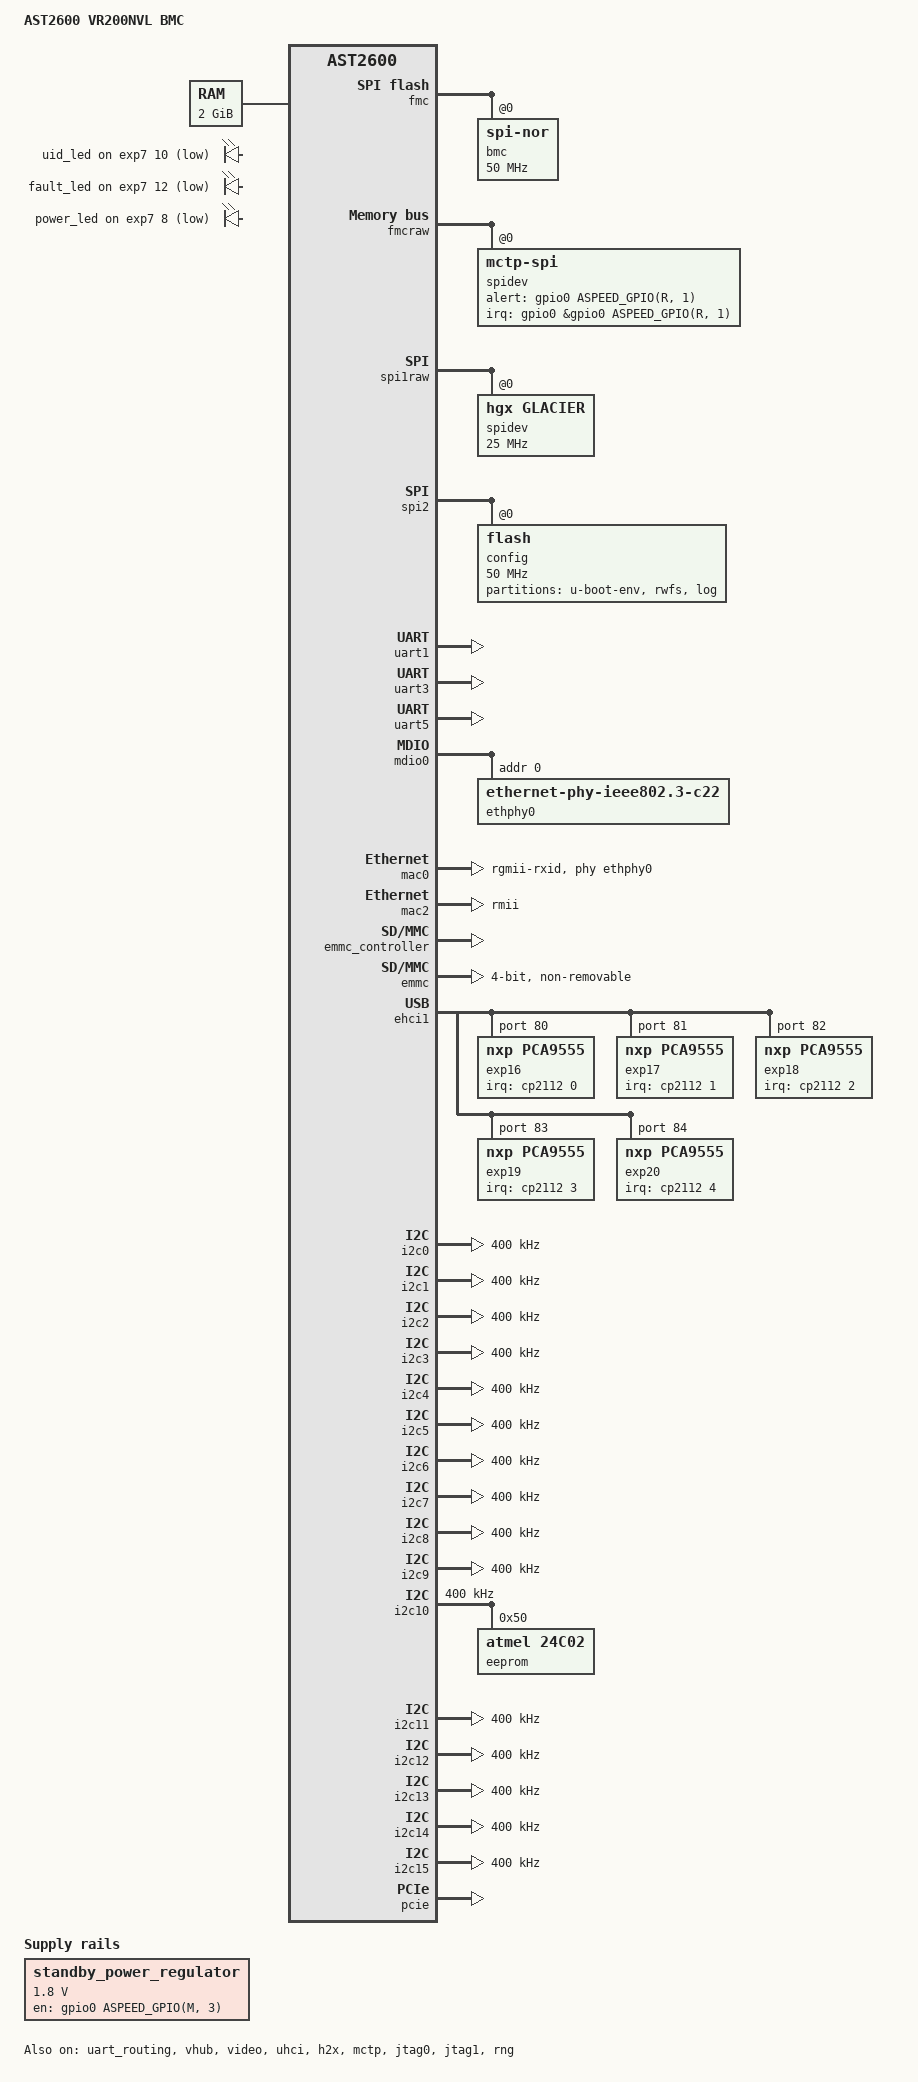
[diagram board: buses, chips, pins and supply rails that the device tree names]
// SPDX-License-Identifier: GPL-2.0+
/dts-v1/;

#include "nvidia-vr-bmc-e5010-core.dtsi"
#include <dt-bindings/leds/common.h>

/ {
    model = "AST2600 VR200NVL BMC";
    compatible = "aspeed,ast2600";

	aliases {
		serial2 = &uart3;
		serial4 = &uart5;
        i2c70   = &i2c70;
	};

	chosen {
		stdout-path = &uart5;
		bootargs = "console=tty0 console=ttyS4,115200n8 earlyprintk";
	};

	memory@80000000 {
		device_type = "memory";
		reg = <0x80000000 0x80000000>;
	};

	reserved-memory {
		#address-cells = <1>;
		#size-cells = <1>;
		ranges;

		vga_memory: framebuffer@9f000000 {
			no-map;
			reg = <0x9f000000 0x01000000>; /* 16M */
		};


		ramoops@a0000000 {
			compatible = "ramoops";
			reg = <0xa0000000 0x100000>; /* 1MB */
			record-size = <0x10000>; /* 64KB */
			max-reason = <2>; /* KMSG_DUMP_OOPS */
		};

		gfx_memory: framebuffer {
			size = <0x01000000>;
			alignment = <0x01000000>;
			compatible = "shared-dma-pool";
			reusable;
		};

		video_engine_memory: jpegbuffer {
			size = <0x02000000>;	/* 32M */
			alignment = <0x01000000>;
			compatible = "shared-dma-pool";
			reusable;
		};
	};

    power-gpios{
        n2-gpios = <&gpio0 ASPEED_GPIO(N, 2) (GPIO_ACTIVE_HIGH|GPIO_PULL_UP)>;
        n3-gpios = <&gpio0 ASPEED_GPIO(N, 3) (GPIO_ACTIVE_HIGH|GPIO_PULL_UP)>;
    };

    leds {
        compatible = "gpio-leds";
        uid_led {
                gpios = <&exp7 10 GPIO_ACTIVE_LOW>;
        };
        fault_led {
                gpios = <&exp7 12 GPIO_ACTIVE_LOW>;
        };
        power_led {
                gpios = <&exp7 8 GPIO_ACTIVE_LOW>;
        };
    };

    buttons {
        power-btn {
            gpio = <&exp7 9 GPIO_ACTIVE_LOW>;
        };
        uid-btn {
            gpio = <&exp7 11 GPIO_ACTIVE_LOW>;
        };
    };

    standby_power_regulator: standby-power-regulator {
		status = "okay";
		compatible = "regulator-fixed";
		regulator-name = "standby_power";
		gpio = <&gpio0 ASPEED_GPIO(M, 3) GPIO_ACTIVE_HIGH>;
		regulator-min-microvolt = <1800000>;
		regulator-max-microvolt = <1800000>;
		enable-active-high;
		regulator-always-on;
	};
};

// Enabled Primary flash on FMC for bring up activity
&fmc {
    status = "okay";
    flash@0 {
        status = "okay";
        compatible = "jedec,spi-nor";
        label = "bmc";
        spi-max-frequency = <50000000>;
#include "aspeed-bmc-nvidia-gh-flash-layout-64.dtsi"
    };
};

&fmcraw {
    status = "okay";
    spidev@0 {
        compatible = "mctp-spi";
        alert-gpio = <&gpio0 ASPEED_GPIO(R, 1) GPIO_ACTIVE_HIGH>;
        interrupt-parent = <&gpio0>;
        interrupts = <&gpio0 ASPEED_GPIO(R, 1) GPIO_ACTIVE_HIGH>;
        status = "okay";
    };
};

&spi1raw {
    status = "okay";
    pinctrl-names = "default";
    pinctrl-0 = <&pinctrl_spi1_default>;
    spidev@0 {
        spi-max-frequency = <25000000>;
        compatible = "hgx,glacier";
        status = "okay";
    };
};

&spi2 {
    status = "okay";
    pinctrl-names = "default";
    pinctrl-0 = <&pinctrl_spi2_default>;

    // Data SPI is 64MB in size
    flash@0 {
        status = "okay";
        label = "config";
        spi-max-frequency = <50000000>;
        partitions {
            compatible = "fixed-partitions";
            #address-cells = <1>;
            #size-cells = <1>;

            u-boot-env@0 {
                reg = <0x0 0x40000>;            // 256KB at offset 0
                label = "u-boot-env";
            };

            rwfs@40000 {
                reg = <0x40000 0x1000000>;      // 16MB at offset 0x40000
                label = "rwfs";
            };

            log@0x1040000 {
                reg = <0x1040000 0x2800000>;    // 40MB at offset 0x1040000
                label = "log";                  // Move log to EMMC, make this unused
            };
        };
    };
};

&uart1 {
        status = "okay";
};

&uart3 {
        //Enabling SOL
        status = "okay";

};

&uart5 {
    // BMC Debug Console
    status = "okay";
};

&uart_routing {
       status = "okay";
};

// MAC1 (per schematics, 1-based MAC1-MAC4) of AST2600 connected to external PHY
// This is "mac0" in zero-based DTS
&mdio0 {
    status = "okay";
    ethphy0: ethernet-phy@0 {
        compatible = "ethernet-phy-ieee802.3-c22";
        reg = <0>;
    };

};

&mac0 {
    status = "okay";
    pinctrl-names = "default";
    phy-mode = "rgmii-rxid";
    max-speed = <1000>;
    phy-handle = <&ethphy0>;
    pinctrl-0 = <&pinctrl_rgmii1_default>;
};

&mac2 {
    status = "okay";
    phy-mode = "rmii";
    use-ncsi;
    pinctrl-names = "default";
    pinctrl-0 = <&pinctrl_rmii3_default>;
};


// Enable emmc
&emmc_controller {
    status = "okay";
};

&emmc {
    non-removable;
    pinctrl-0 = <&pinctrl_emmcg5_default>;
    bus-width = <4>;
    max-frequency = <52000000>;
    clk-phase-mmc-hs200 = <9>, <225>;
};

/*
 * Enable USB port A as device (via the virtual hub) to host
 */
&vhub {
    status = "okay";
    pinctrl-names = "default";
    /*
        Uncomment below line to enable internal EHCI controller
        Current config uses xHCI Port1
    */
    // pinctrl-0 = <&pinctrl_usb2adp_default>;
};

&video {
	status = "okay";
	memory-region = <&video_engine_memory>;
};

// USB 2.0 to HMC, on USB Port B
&ehci1 {
    status = "okay";

    hub@1 {
        reg = <1>;
        hub@2 {
            reg = <2>;
            hub@1 {
                reg = <1>;
                device@1 {
                    reg = <1>;
                    cp2112: interface@1 {
                        reg = <1 1>;

                        gpio-controller;
                        interrupt-controller;
                        #gpio-cells = <2>;
                        #interrupt-cells = <2>;

                        i2c70: i2c {
                            #address-cells = <1>;
                            #size-cells = <0>;

                            exp16: pca9555@50 {
                                compatible = "nxp,pca9555";
                                reg = <0x50>;
                                gpio-controller;
                                #gpio-cells = <2>;

                                #address-cells = <1>;
                                #size-cells = <0>;
                                interrupt-controller;
                                #interrupt-cells = <2>;
                                interrupt-parent = <&cp2112>;
                                interrupts = <0 IRQ_TYPE_LEVEL_LOW>;

                                gpio-line-names =
                                    "CPU0_IROT_RECOVERY_L-I",
                                    "CPU0_IROT_FATAL_ERR_L-I",
                                    "CPU0_OVERT_L-I",
                                    "CPU0_SOC_THERM_WARN_L-I",
                                    "SOC_OVERT_L-I",
                                    "MCU_CPU0_CHIPTHROT_L-I",
                                    "CPU0_SOCAMM0_PRSNT_L-I",
                                    "CPU0_SOCAMM1_PRSNT_L-I",
                                    "CPU0_SOCAMM2_PRSNT_L-I",
                                    "CPU0_SOCAMM3_PRSNT_L-I",
                                    "CPU0_SOCAMM4_PRSNT_L-I",
                                    "CPU0_SOCAMM5_PRSNT_L-I",
                                    "CPU0_SOCAMM6_PRSNT_L-I",
                                    "CPU0_SOCAMM7_PRSNT_L-I",
                                    "MCU_HPM_CPU0_SSIF_ALERT_L-I",
                                    "MCU_RECOVERY_L-I";
                            };
                            exp17: pca9555@51 {
                                compatible = "nxp,pca9555";
                                reg = <0x51>;
                                gpio-controller;
                                #gpio-cells = <2>;

                                #address-cells = <1>;
                                #size-cells = <0>;
                                interrupt-controller;
                                #interrupt-cells = <2>;
                                interrupt-parent = <&cp2112>;
                                interrupts = <1 IRQ_TYPE_LEVEL_LOW>;

                                gpio-line-names =
                                    "CPU0_UPHY_PRSNT0_L-I",
                                    "CPU0_UPHY_PRSNT1_L-I",
                                    "CPU0_UPHY_PRSNT2_L-I",
                                    "UPHY1_MCIO0_PERST_R_L-I",
                                    "UPHY2_MCIO0_PERST_R_L-I",
                                    "UPHY2_MCIO2_PERST_R_L-I",
                                    "UPHY0_MCIO2_PERST_R_L-I",
                                    "UPHY3_MCIO1_PERST_R_L-I",
                                    "T_SENSOR_ALERT_L-I",
                                    "MCU_GLOBAL_WP_FRU-O",
                                    "OOB_MUX_CTRL0-O",
                                    "OOB_MUX_CTRL1-O",
                                    "HPM_CPU0_OOB_SPI_CS0_L-O",
                                    "HPM_CPU0_OOB_SPI_CS1_L-O",
                                    "WP_MCU_IN-I",
                                    "MCU_I2C_RTC_ALERT_L-I";
                            };
                            exp18: pca9555@52 {
                                compatible = "nxp,pca9555";
                                reg = <0x52>;
                                gpio-controller;
                                #gpio-cells = <2>;

                                #address-cells = <1>;
                                #size-cells = <0>;
                                interrupt-controller;
                                #interrupt-cells = <2>;
                                interrupt-parent = <&cp2112>;
                                interrupts = <2 IRQ_TYPE_LEVEL_LOW>;

                                gpio-line-names =
                                    "CPU_CEM_WAKE_L-I",
                                    "MCU_THERM_OVERT_L-I",
                                    "MCU_THERM_WARN_L-I",
                                    "MCU_HEARTBEAT-I",
                                    "MCU_GLOBAL_WP_CPU01-I",
                                    "NVBUF_LOS_L-I",
                                    "LEAK_DETECT_L-I",
                                    "vLeakDetect1Status0-I",
                                    "vLeakDetect1Status1-I",
                                    "vLeakDetect2Status0-I",
                                    "vLeakDetect2Status1-I",
                                    "HPM_IOX_ALERT_L-I",
                                    "MCU_BMC_ALERT-I",
                                    "MCU_USER_STRAP-I",
                                    "HPM_MCU_OK-I",
                                    "MCU_HMC_ALERT_L-I";
                            };
                            exp19: pca9555@53 {
                                compatible = "nxp,pca9555";
                                reg = <0x53>;
                                gpio-controller;
                                #gpio-cells = <2>;

                                #address-cells = <1>;
                                #size-cells = <0>;
                                interrupt-controller;
                                #interrupt-cells = <2>;
                                interrupt-parent = <&cp2112>;
                                interrupts = <3 IRQ_TYPE_LEVEL_LOW>;

                                gpio-line-names =
                                    "PS_DDR_VDDP_PG_CPLD_RST_L-I",
                                    "PS_DVDD_PG_CPLD_PSEQ_FAULT_R-I",
                                    "VR_VCC_PG_CPLD_READY-I",
                                    "CPLD_PROGRAM-I",
                                    "INPUT_12V_VALID_IN-I",
                                    "IOX_RUN_POWER_EN-I",
                                    "MODULE_PWR_GOOD-I",
                                    "PS_1V8_PGOOD-I",
                                    "PS_3V3_PGOOD-I",
                                    "PS_UPHY_CVDD_PGOOD-I",
                                    "PS_C2CLLI_PGOOD-I",
                                    "PS_DDR_VDDQ_PGOOD-I",
                                    "PS_C2CVDD_PGOOD-I",
                                    "MOD0_PEX_RESET_L-I",
                                    "M2_ALERT_L-I",
                                    "TRAY_FAST_SHDN_L-I";
                            };
                            exp20: pca9555@54 {
                                compatible = "nxp,pca9555";
                                reg = <0x54>;
                                gpio-controller;
                                #gpio-cells = <2>;

                                #address-cells = <1>;
                                #size-cells = <0>;
                                interrupt-controller;
                                #interrupt-cells = <2>;
                                interrupt-parent = <&cp2112>;
                                interrupts = <4 IRQ_TYPE_LEVEL_LOW>;

                                gpio-line-names =
                                    "PS_HVDD_1V2_PG_JTAG-I",
                                    "PS_CPU_PG_JTAG_TMS-I",
                                    "PS_SOC_PG_JTAG_TDO-I",
                                    "PS_MSS_PG_JTAG_TDI-I",
                                    "PS_C2CLPI_PG_JTAG_TRST-I",
                                    "",
                                    "",
                                    "",
                                    "",
                                    "",
                                    "",
                                    "",
                                    "",
                                    "",
                                    "",
                                    "";
                            };
                        };
                    };
                };
            
            };
        };
    };
};

// USB 1.0
&uhci {
   status = "okay";
};

// I2C1, SSIF IPMI interface
&i2c0 {
    status = "okay";
    clock-frequency = <400000>;
    disable-master = <1>;
    i2c-scl-clk-low-timeout-us = <32000>;
    i2c-tck-thddat-config = <0x0099EC00>;
};

// I2C2
// BMC_I2C1_FPGA - Secondary FPGA
// HMC EROT
&i2c1 {
    status = "okay";
    clock-frequency = <400000>;
    i2c-scl-clk-low-timeout-us = <32000>;
    i2c-tck-thddat-config = <0x0099EC00>;
};

// I2C3
// BMC_I2C0_FPGA - Primary FPGA
// HMC FRU EEPROM
&i2c2 {
    status = "okay";
    clock-frequency = <400000>;
    i2c-scl-clk-low-timeout-us = <32000>;
    i2c-tck-thddat-config = <0x0099EC00>;
};

// I2C4
&i2c3 {
    status = "ok";
    clock-frequency = <400000>;
};

// I2C5
// RTC Driver
// IO Expander
&i2c4 {
    status = "okay";
    clock-frequency = <400000>;
    i2c-tck-thddat-config = <0x0099EC00>;
};

// I2C6
// Module 0/1 I2C MUX x3
&i2c5 {
    status = "okay";
    clock-frequency = <400000>;
    i2c-scl-clk-low-timeout-us = <32000>;
    i2c-tck-thddat-config = <0x0099EC00>;
};

// I2C7
// Module 0/1 Leak Sensors
// Module 0/1 Fan Controllers
&i2c6 {
    status = "okay";
    clock-frequency = <400000>;
    i2c-tck-thddat-config = <0x0099EC00>;
};

// I2C8
&i2c7 {
    status = "okay";
    clock-frequency = <400000>;
};

// I2C9
// M.2
&i2c8 {
    status = "okay";
    clock-frequency = <400000>;
    i2c-scl-clk-low-timeout-us = <32000>;
    i2c-tck-thddat-config = <0x0099EC00>;
};

// I2C10
// HMC IO Expander
// Module 0/1 IO Expanders
&i2c9 {
    status = "okay";
    clock-frequency = <400000>;
    i2c-tck-thddat-config = <0x0099EC00>;
};

// I2C11
// BMC FRU EEPROM
// BMC Temp Sensor
&i2c10 {
    status = "okay";
    clock-frequency = <400000>;
    i2c-tck-thddat-config = <0x0099EC00>;
    // BMC FRU EEPROM - 256 bytes
    eeprom@50 {
        compatible = "atmel,24c02";
        reg = <0x50>;
        pagesize = <8>;
    };
};

// I2C12
&i2c11 {
    status = "ok";
    clock-frequency = <400000>;
};

// I2C13
&i2c12 {
    status = "ok";
    clock-frequency = <400000>;
};

// I2C14
// Module 0 UPHY3 SMBus
&i2c13 {
    status = "ok";
    clock-frequency = <400000>;
};

// I2C15
// Module 1 UPHY3 SMBus
&i2c14 {
    status = "okay";
    clock-frequency = <400000>;
};

// I2C16
&i2c15 {
    status = "okay";
    clock-frequency = <400000>;
};

// PCIe RC
&pcie {
    status = "okay";

    interrupts = <GIC_SPI 168 IRQ_TYPE_LEVEL_HIGH>;

    pcie_intc0: legacy-interrupt-controller {
                    interrupts = <GIC_SPI 168 IRQ_TYPE_EDGE_RISING>;
    };
};

// Bridge between AHB bus and PCIe RC.
&h2x {
    status = "okay";
};

&mctp {
    status = "okay";
};

&jtag0 {
    status = "okay";
};

&jtag1 {
    status = "okay";
};

&rng {
    status = "okay";
};

